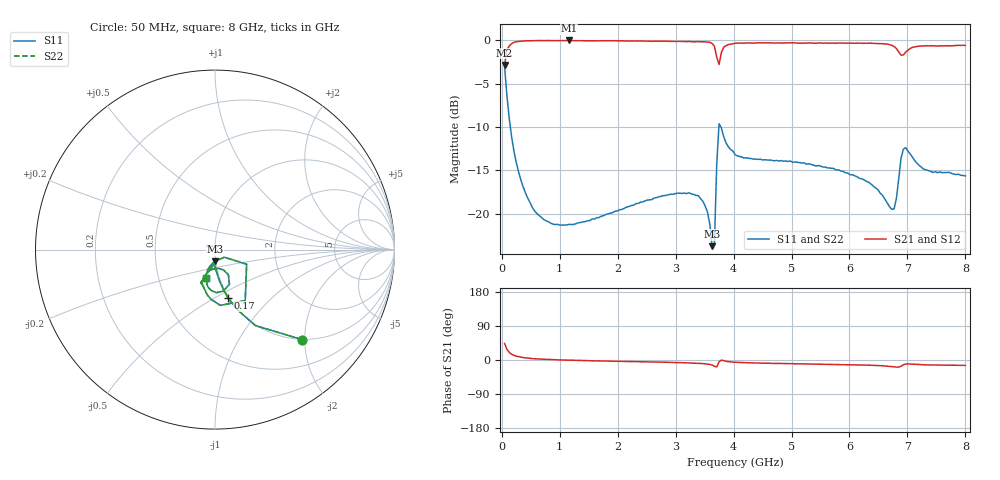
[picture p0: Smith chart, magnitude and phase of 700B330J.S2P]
!  American Technical Ceramics  Date:  3/13/98
!  One Norden Lane
!  Huntington Station,  NY.  11746-2102
!  Tel:  (516) 547-5700  Fax:  (516) 547-5748
!  Part Number  700B330J
!  Description: Porcelain, High Q, Low ESR
!  Application: Bypass, Coupling, Timing, Feedback
!  Tuning, Impedance Match, Blocking
# GHZ S DB R 50
! Freq  |S11|  S11 Ph  |S21|  S21 Ph  |S12|  S12 Ph  |S22|  S22 Ph
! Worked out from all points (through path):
!   201 points, 50 MHz to 8 GHz, reference 50 ohm
!   highest |S21| = -0.03 dB at 1.16 GHz (marker M1); lowest = -2.9 dB at 50 MHz (marker M2)
!   group delay of S21, straight-line fit = 7.59 ps
!   lowest |S11| = -23.7 dB at 3.63 GHz (marker M3), VSWR 1.14, Z = 49.6 - j6.47 ohm
!   |S11| at or under -10 dB: 149 MHz to 3.747 GHz (3.598 GHz wide, 185 % of centre); 3.781 GHz to end of sweep
!   |S22| runs from -23.7 to -3.1 dB; largest |S21 - S12| = 0
!   S11 on the Smith chart (normalised r, x): 50 MHz: 0.99, -1.95; 170 MHz: 0.99, -0.58; 8 GHz: 0.86, -0.28
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0.05  -3.11 -45.9  -2.85 43.7  -2.85 43.7  -3.11 -45.9
0.09  -6.39 -62.0  -1.12 27.9  -1.12 27.9  -6.39 -62.0
0.17  -11.09 -74.9  -0.41 15.3  -0.41 15.3  -11.09 -74.9
0.53  -19.31 -87.4  -0.06 3.6  -0.06 3.6  -19.31 -87.4
1.16  -21.23 -95.3  -0.03 -0.5  -0.03 -0.5  -21.23 -95.3
1.4  -20.95 -97.3  -0.06 -1.4  -0.06 -1.4  -20.95 -97.3
2.71  -18.05 -106.7  -0.12 -5.7  -0.12 -5.7  -18.05 -106.7
3.39  -17.91 -109.5  -0.17 -8.8  -0.17 -8.8  -17.91 -109.5
3.55  -19.79 -107.6  -0.22 -10.8  -0.22 -10.8  -19.79 -107.6
3.63  -23.74 -90.2  -0.38 -13.4  -0.38 -13.4  -23.74 -90.2
3.67  -23.48 -39.3  -0.70 -16.4  -0.70 -16.4  -23.48 -39.3
3.71  -14.24 -24.8  -1.96 -18.3  -1.96 -18.3  -14.24 -24.8
3.75  -9.63 -59.3  -2.80 -4.6  -2.80 -4.6  -9.63 -59.3
3.83  -11.12 -94.4  -0.81 -1.9  -0.81 -1.9  -11.12 -94.4
4.03  -13.22 -107.1  -0.36 -6.0  -0.36 -6.0  -13.22 -107.1
5.38  -14.39 -112.8  -0.34 -10.8  -0.34 -10.8  -14.39 -112.8
6.33  -16.37 -110.3  -0.34 -13.6  -0.34 -13.6  -16.37 -110.3
6.69  -19.19 -96.5  -0.51 -16.7  -0.51 -16.7  -19.19 -96.5
6.77  -19.45 -79.5  -0.73 -18.0  -0.73 -18.0  -19.45 -79.5
6.89  -13.57 -67.4  -1.73 -16.3  -1.73 -16.3  -13.57 -67.4
6.97  -12.38 -87.9  -1.38 -10.8  -1.38 -10.8  -12.38 -87.9
8  -15.65 -107.9  -0.60 -14.3  -0.60 -14.3  -15.65 -107.9
